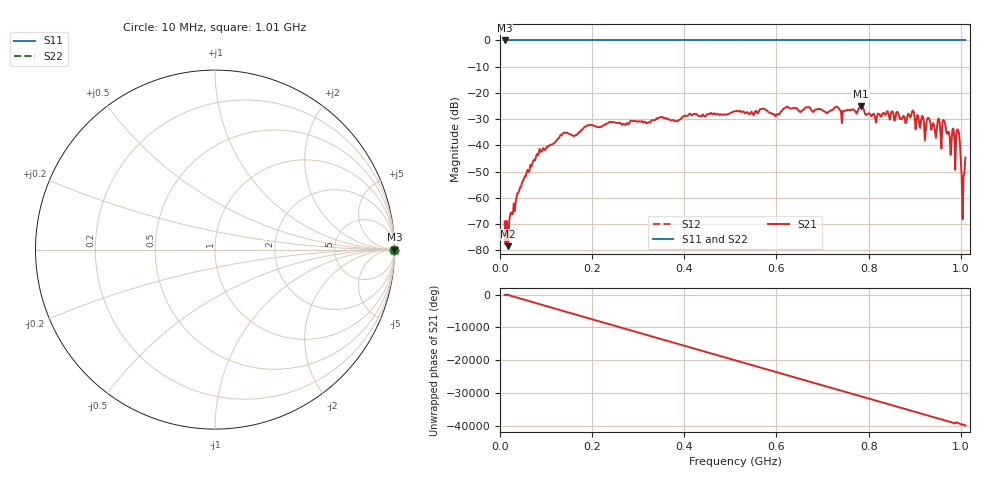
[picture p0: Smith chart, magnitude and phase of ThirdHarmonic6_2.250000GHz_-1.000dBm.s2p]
! 8/17/2025 2:42:04 AM
! C:\ANRITSUVNA\TEMP\TEMP.S2P
! CHANNEL.1
! TR.MEASUREMENT
! RAW.DATA
! RF.CORRECTION.OFF
! AVERAGING.OFF
! IF.BANDWIDTH: 5KHZ
! SWEEPTYPE:  FREQ.SWEEP(Linear)
! Reference Plane Port Info
! PORT:  PORT1  PORT2
! DISTANCE:  0  m  0  m
! TIME:  0  s  0  s
! PHASE.OFFSET:  0  deg.  0  deg.
! LOSS:  0  dB  0  dB
! REF.LOSS:  0  dB  0  dB
! REF.FREQ:  0  Hz  0  Hz
! Power Info
! POWER:  -20  dBm  -20  dBm
! EFF.POWER:  -20  dBm  -20  dBm
! SOURCE.ATTEN:  0  dB  0  dB
! TEST.ATTEN:  0  dB  0  dB
# GHZ S RI R 50.0
! FREQ.GHZ  S11RE  S11IM  S21RE  S21IM  S12RE  S12IM  S22RE  S22IM
!; PortSelection: Port_12
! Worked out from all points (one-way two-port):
!   501 points, 10 MHz to 1.01 GHz, reference 50 ohm
!   highest |S21| = -25.16 dB at 784 MHz (marker M1); lowest = -78.5 dB at 18 MHz (marker M2)
!   lowest |S11| = 0.0 dB at 10 MHz (marker M3)
!   |S11| at or under -10 dB: nowhere
!   |S22| runs from 0.0 to 0.0 dB; largest |S21 - S12| = 1.1
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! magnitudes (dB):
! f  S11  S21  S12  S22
! 10 MHz  0.0  -69.1  0.0  0.0
! 14 MHz  0.0  -68.8  0.0  0.0
! 18 MHz  0.0  -78.5  0.0  0.0
! 40 MHz  0.0  -58.1  0.0  0.0
! 82 MHz  0.0  -43.9  0.0  0.0
! 136 MHz  0.0  -35.7  0.0  0.0
! 178 MHz  0.0  -34.1  0.0  0.0
! 344 MHz  0.0  -29.6  0.0  0.0
! 510 MHz  0.0  -27.1  0.0  0.0
! 678 MHz  0.0  -27.1  0.0  0.0
! 784 MHz  0.0  -25.2  0.0  0.0
! 812 MHz  0.0  -28.1  0.0  0.0
! 844 MHz  0.0  -28.7  0.0  0.0
! 878 MHz  0.0  -29.4  0.0  0.0
! 896 MHz  0.0  -26.7  0.0  0.0
! 944 MHz  0.0  -34.9  0.0  0.0
! 964 MHz  0.0  -30.6  0.0  0.0
! 976 MHz  0.0  -36.9  0.0  0.0
! 994 MHz  0.0  -33.9  0.0  0.0
! 1.004 GHz  0.0  -68.2  0.0  0.0
! 1.008 GHz  0.0  -50.0  0.0  0.0
! 1.01 GHz  0.0  -44.7  0.0  0.0
